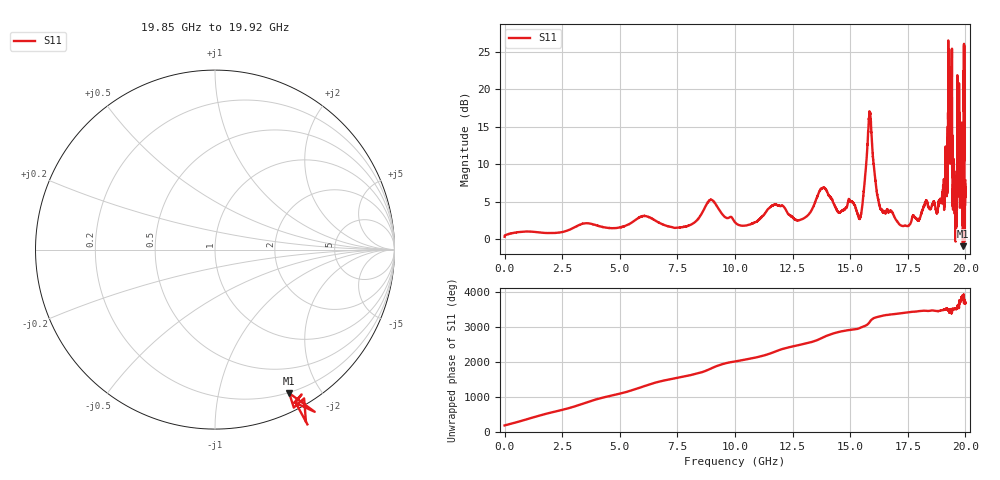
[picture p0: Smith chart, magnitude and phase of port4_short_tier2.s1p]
! Created with skrf 1.8.0 (http://scikit-rf.org).
# GHz S RI R 50.0
!freq ReS11 ImS11
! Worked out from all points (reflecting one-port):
!   10001 points, 1 MHz to 20 GHz, reference 50 ohm
!   lowest |S11| = -0.9 dB at 19.9 GHz (marker M1), VSWR 19.12, Z = 9.6 - j81.3 ohm
!   phase of S11 starts at 179 deg and turns +3496 deg over the sweep
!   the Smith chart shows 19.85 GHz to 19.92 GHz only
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0.001  -1.041 0.0109
2.500875  -0.1066 -1.113
3.41083  0.1059 1.269
4.280786  -0.2637 -1.177
5.00075  1.188 0.1767
6.288686  0.0763 -1.4
7.500625  -0.243 1.171
8.270587  -1.157 -0.6062
8.946553  1.832 0.0881
10.0005  -1.155 -0.5904
11.13444  1.396 -0.0832
11.60642  -0.1499 1.666
12.50038  0.1741 -1.391
13.24634  1.316 0.7155
13.84631  -2.2 -0.1374
14.17429  0.0165 -1.88
15.00025  1.554 0.876
15.63022  -1.912 1.508
15.75421  -4.239 -0.4775
15.86621  0.5984 -6.833
15.9762  3.656 -0.8219
16.18019  1.533 1.221
17.50013  -1.212 0.1729
19.14404  -0.7935 -2.835
19.32603  -1.534 -5.203
19.63402  0.7562 -2.367
19.90001  0.4136 -0.8
20  0.634 2.382
